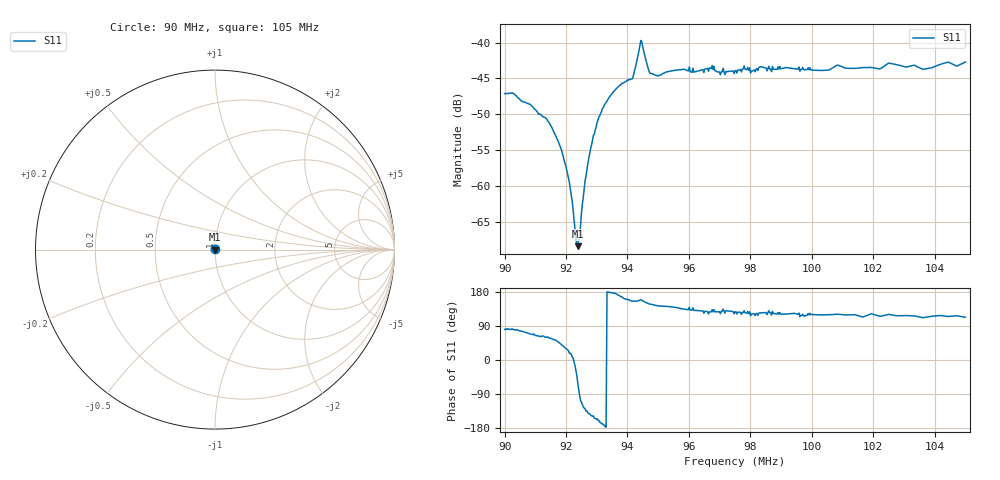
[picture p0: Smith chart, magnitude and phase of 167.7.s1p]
# HZ S RI R 50
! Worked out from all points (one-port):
!   505 points, 90 MHz to 105 MHz, reference 50 ohm
!   lowest |S11| = -68.4 dB at 92.38 MHz (marker M1), VSWR 1.00, Z = 50 - j0.033 ohm
!   |S11| at or under -10 dB: start of sweep to end of sweep
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9e7  0.000705 0.00435
9.032738e7  0.000798 0.00429
9.136905e7  0.00148 0.00253
9.187501e7  0.00134 0.00107
9.21131e7  0.000994 0.000314
9.232144e7  0.000376 -0.000205
9.238096e7  0.000189 -0.00033
9.244048e7  -2.22e-05 -0.000455
9.255953e7  -0.000453 -0.000694
9.267858e7  -0.000905 -0.000923
9.294644e7  -0.00219 -0.00107
9.324406e7  -0.00362 -0.000526
9.375001e7  -0.00494 0.000955
9.416668e7  -0.00511 0.00236
9.443454e7  -0.00965 0.00375
9.449406e7  -0.00859 0.00379
9.476192e7  -0.00511 0.00333
9.562502e7  -0.00477 0.00433
9.675597e7  -0.00471 0.00508
9.696431e7  -0.00379 0.00495
9.750002e7  -0.00385 0.00507
9.937503e7  -0.00354 0.00556
1.0125e8  -0.00322 0.00577
1.022024e8  -0.00283 0.00591
1.025298e8  -0.00358 0.00621
1.03125e8  -0.0031 0.00605
1.036608e8  -0.00248 0.00605
1.05e8  -0.00284 0.00676
